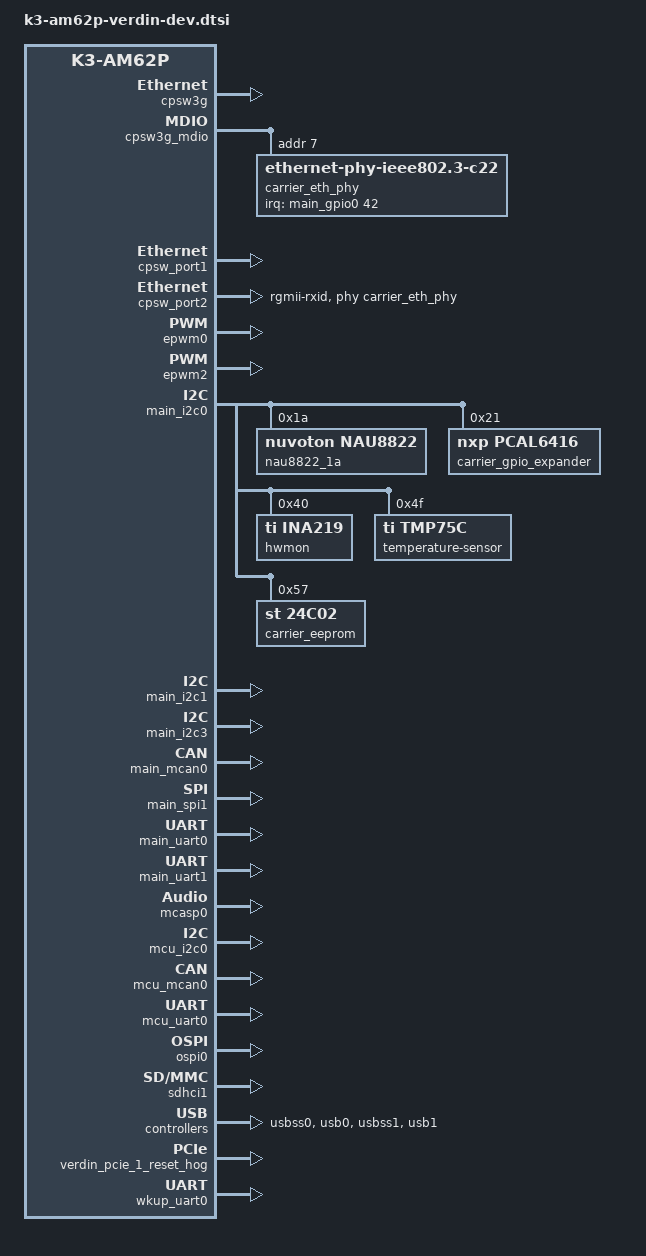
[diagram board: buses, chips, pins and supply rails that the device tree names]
// SPDX-License-Identifier: GPL-2.0-or-later OR MIT
/*
 * Copyright 2025 Toradex
 *
 * Common dtsi for Verdin AM62P SoM on Development carrier board
 *
 * https://www.toradex.com/computer-on-modules/verdin-arm-family/ti-am62p
 * https://www.toradex.com/products/carrier-board/verdin-development-board-kit
 */

/ {
	aliases {
		eeprom1 = &carrier_eeprom;
	};

	sound {
		compatible = "simple-audio-card";
		simple-audio-card,bitclock-master = <&codec_dai>;
		simple-audio-card,format = "i2s";
		simple-audio-card,frame-master = <&codec_dai>;
		simple-audio-card,mclk-fs = <256>;
		simple-audio-card,name = "verdin-nau8822";
		simple-audio-card,routing =
			"Headphones", "LHP",
			"Headphones", "RHP",
			"Speaker", "LSPK",
			"Speaker", "RSPK",
			"Line Out", "AUXOUT1",
			"Line Out", "AUXOUT2",
			"LAUX", "Line In",
			"RAUX", "Line In",
			"LMICP", "Mic In",
			"RMICP", "Mic In";
		simple-audio-card,widgets =
			"Headphones", "Headphones",
			"Line Out", "Line Out",
			"Speaker", "Speaker",
			"Microphone", "Mic In",
			"Line", "Line In";

		codec_dai: simple-audio-card,codec {
			sound-dai = <&nau8822_1a>;
		};

		simple-audio-card,cpu {
			sound-dai = <&mcasp0>;
		};
	};
};

/* Verdin ETHs */
&cpsw3g {
	pinctrl-names = "default";
	pinctrl-0 = <&pinctrl_rgmii1>, <&pinctrl_rgmii2>;
	status = "okay";
};

/* MDIO, shared by Verdin ETH_1 (On-module PHY) and Verdin ETH_2_RGMII */
&cpsw3g_mdio {
	status = "okay";

	carrier_eth_phy: ethernet-phy@7 {
		compatible = "ethernet-phy-ieee802.3-c22";
		reg = <7>;
		pinctrl-names = "default";
		pinctrl-0 = <&pinctrl_eth2_rgmii_int>;
		interrupt-parent = <&main_gpio0>;
		interrupts = <42 IRQ_TYPE_EDGE_FALLING>;
		micrel,led-mode = <0>;
	};
};

/* Verdin ETH_1 (On-module PHY) */
&cpsw_port1 {
	status = "okay";
};

/* Verdin ETH_2_RGMII */
&cpsw_port2 {
	phy-handle = <&carrier_eth_phy>;
	phy-mode = "rgmii-rxid";
	status = "okay";
};

/* Verdin PWM_3_DSI */
&epwm0 {
	status = "okay";
};

/* Verdin PWM_1, PWM_2 */
&epwm2 {
	status = "okay";
};

&main_gpio0 {
	pinctrl-names = "default";
	pinctrl-0 = <&pinctrl_pcie_1_reset>,
		    <&pinctrl_gpio_5>,
		    <&pinctrl_gpio_6>,
		    <&pinctrl_gpio_7>,
		    <&pinctrl_gpio_8>;
};

/* Verdin I2C_1 */
&main_i2c0 {
	status = "okay";

	nau8822_1a: audio-codec@1a {
		compatible = "nuvoton,nau8822";
		reg = <0x1a>;
		pinctrl-names = "default";
		pinctrl-0 = <&pinctrl_i2s1_mclk>;
		clock-names = "mclk";
		clocks = <&audio_refclk0>;
		#sound-dai-cells = <0>;
	};

	carrier_gpio_expander: gpio@21 {
		compatible = "nxp,pcal6416";
		reg = <0x21>;
		#gpio-cells = <2>;
		gpio-controller;
	};

	/* Current measurement into module VCC */
	hwmon@40 {
		compatible = "ti,ina219";
		reg = <0x40>;
		shunt-resistor = <10000>;
	};

	temperature-sensor@4f {
		compatible = "ti,tmp75c";
		reg = <0x4f>;
	};

	carrier_eeprom: eeprom@57 {
		compatible = "st,24c02", "atmel,24c02";
		reg = <0x57>;
		pagesize = <16>;
	};
};

/* Verdin I2C_2_DSI */
&main_i2c1 {
	status = "okay";
};

/* Verdin I2C_4_CSI */
&main_i2c3 {
	status = "okay";
};

/* Verdin CAN_1 */
&main_mcan0 {
	status = "okay";
};

/* Verdin SPI_1 */
&main_spi1 {
	status = "okay";
};

/* Verdin UART_3, used as the Linux console */
&main_uart0 {
	status = "okay";
};

/* Verdin UART_1, connector X50 through RS485 transceiver */
&main_uart1 {
	rs485-rx-during-tx;
	linux,rs485-enabled-at-boot-time;
	status = "okay";
};

/* Verdin I2S_1 */
&mcasp0 {
	status = "okay";
};

&mcu_gpio0 {
	pinctrl-names = "default";
	pinctrl-0 = <&pinctrl_gpio_1>,
		    <&pinctrl_gpio_2>,
		    <&pinctrl_gpio_3>,
		    <&pinctrl_gpio_4>;
};

/* Verdin I2C_3_HDMI */
&mcu_i2c0 {
	status = "okay";
};

/* Verdin CAN_2 */
&mcu_mcan0 {
	status = "okay";
};

/* Verdin UART_4 */
&mcu_uart0 {
	status = "okay";
};

/* Verdin QSPI_1 */
&ospi0 {
	status = "okay";
};

/* Verdin SD_1 */
&sdhci1 {
	status = "okay";
};

/* Verdin USB_1 */
&usbss0 {
	status = "okay";
};

&usb0 {
	status = "okay";
};

/* Verdin USB_2 */
&usbss1 {
	status = "okay";
};

&usb1 {
	status = "okay";
};

/* Verdin CTRL_WAKE1_MICO# */
&verdin_gpio_keys {
	status = "okay";
};

/* Verdin PCIE_1_RESET# */
&verdin_pcie_1_reset_hog {
	status = "okay";
};

/* Verdin UART_2 */
&wkup_uart0 {
	status = "okay";
};
